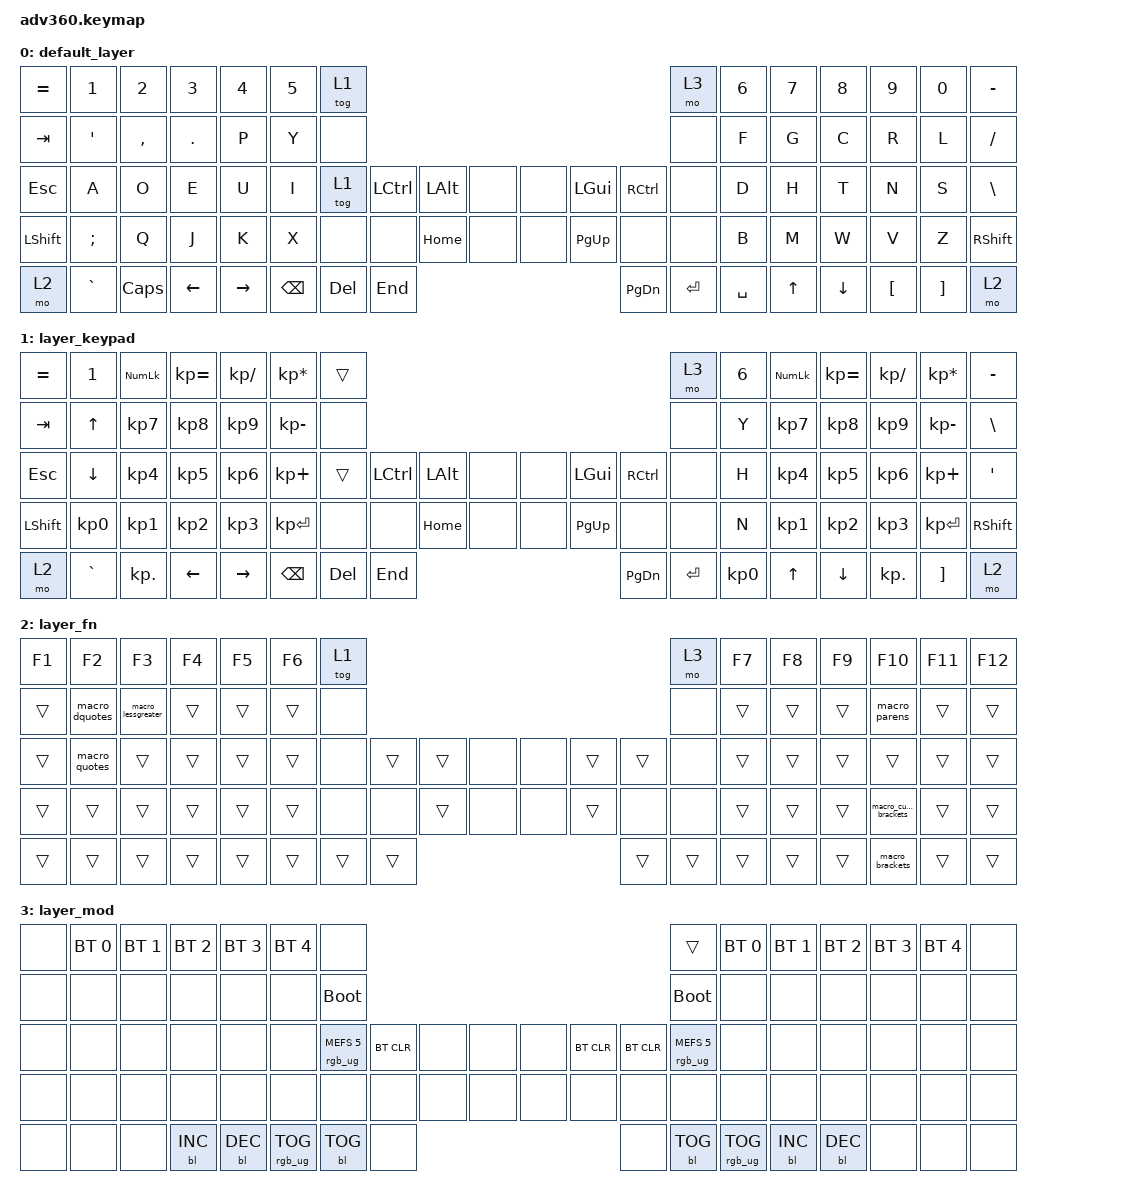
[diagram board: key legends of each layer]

/*
 * Copyright (c) 2020 The ZMK Contributors
 *
 * SPDX-License-Identifier: MIT
 */


/* THIS FILE WAS GENERATED!
 *
 * This file was generated automatically. You may or may not want to
 * edit it directly.
 */

#include <behaviors.dtsi>
#include <dt-bindings/zmk/keys.h>
#include <dt-bindings/zmk/bt.h>
#include <dt-bindings/zmk/rgb.h>
#include <dt-bindings/zmk/backlight.h>

#define COMBO(NAME, BINDINGS, KEYPOS) \
  combo_##NAME { \
    timeout-ms = <20>; \
    bindings = <BINDINGS>; \
    key-positions = <KEYPOS>; \
    layers = <0>; \
  };

/ {
  behaviors {
    #include "macros.dtsi"
    #include "version.dtsi"

    hm: homerow_mods {
        compatible = "zmk,behavior-hold-tap";
        label = "HOMEROW_MODS";
        #binding-cells = <2>;
        tapping-term-ms = <200>;
        quick_tap_ms = <175>;
        flavor = "tap-preferred";
        bindings = <&kp>, <&kp>;
    };
  };

  combos {
  compatible = "zmk,combos";
  
  COMBO(lshift, &kp LSHFT, 30 31)
  COMBO(lctrl, &kp LCTRL, 29 30)
  COMBO(lalt, &kp LALT, 31 32)
  COMBO(rshift, &kp RSHFT, 44 45)
  COMBO(rctrl, &kp RCTRL, 43 44)
  COMBO(ralt, &kp RALT, 45 46)
  
  COMBO(lctrlshift, &kp LS(LCTRL), 29 30 31)
  COMBO(lctrlalt, &kp LC(LALT), 29 32)
  COMBO(lshiftalt, &kp LS(LALT), 30 31 32)
  COMBO(rctrlshift, &kp RS(RCTRL), 43 44 45)
  COMBO(rctrlalt, &kp RC(RALT), 43 46)
  COMBO(rshiftalt, &kp RS(RALT), 44 45 46)

  };

    keymap {
        compatible = "zmk,keymap";


        default_layer {
            bindings = <
 &kp EQUAL     &kp N1     &kp N2      &kp N3     &kp N4  &kp N5              &tog 1                                                                 &mo 3  &kp N6  &kp N7    &kp N8    &kp N9    &kp N0  &kp MINUS
   &kp TAB    &kp SQT  &kp COMMA  &kp PERIOD      &kp P   &kp Y               &none                                                                 &none   &kp F   &kp G     &kp C     &kp R     &kp L   &kp FSLH
   &kp ESC      &kp A      &kp O       &kp E      &kp U   &kp I              &tog 1  &kp LCTRL  &kp LALT   &none   &none   &kp LGUI  &kp RCTRL      &none   &kp D   &kp H     &kp T     &kp N     &kp S   &kp BSLH
 &kp LSHFT   &kp SEMI      &kp Q       &kp J      &kp K   &kp X               &none      &none  &kp HOME   &none   &none  &kp PG_UP      &none      &none   &kp B   &kp M     &kp W     &kp V     &kp Z  &kp RSHFT
     &mo 2  &kp GRAVE   &kp CAPS    &kp LEFT  &kp RIGHT                    &kp BSPC    &kp DEL   &kp END                  &kp PG_DN  &kp ENTER  &kp SPACE          &kp UP  &kp DOWN  &kp LBKT  &kp RBKT      &mo 2
            >;
        };

        layer_keypad {
            bindings = <
 &kp EQUAL     &kp N1  &kp KP_NUM  &kp KP_EQUAL  &kp KP_SLASH  &kp KP_MULTIPLY              &trans                                                                 &mo 3  &kp N6  &kp KP_NUM  &kp KP_EQUAL  &kp KP_DIVIDE  &kp KP_MULTIPLY  &kp MINUS
   &kp TAB     &kp UP   &kp KP_N7     &kp KP_N8     &kp KP_N9     &kp KP_MINUS               &none                                                                 &none   &kp Y   &kp KP_N7     &kp KP_N8      &kp KP_N9     &kp KP_MINUS   &kp BSLH
   &kp ESC   &kp DOWN   &kp KP_N4     &kp KP_N5     &kp KP_N6      &kp KP_PLUS              &trans  &kp LCTRL  &kp LALT   &none   &none   &kp LGUI  &kp RCTRL      &none   &kp H   &kp KP_N4     &kp KP_N5      &kp KP_N6      &kp KP_PLUS    &kp SQT
 &kp LSHFT  &kp KP_N0   &kp KP_N1     &kp KP_N2     &kp KP_N3     &kp KP_ENTER               &none      &none  &kp HOME   &none   &none  &kp PG_UP      &none      &none   &kp N   &kp KP_N1     &kp KP_N2      &kp KP_N3     &kp KP_ENTER  &kp RSHFT
     &mo 2  &kp GRAVE  &kp KP_DOT      &kp LEFT     &kp RIGHT                             &kp BSPC    &kp DEL   &kp END                  &kp PG_DN  &kp ENTER  &kp KP_N0              &kp UP      &kp DOWN     &kp KP_DOT         &kp RBKT      &mo 2
            >;
        };

        layer_fn {
            bindings = <
 &kp F1          &kp F2              &kp F3  &kp F4  &kp F5  &kp F6            &tog 1                                                   &mo 3  &kp F7  &kp F8  &kp F9                &kp F10  &kp F11  &kp F12
 &trans  &macro_dquotes  &macro_lessgreater  &trans  &trans  &trans             &none                                                   &none  &trans  &trans  &trans          &macro_parens   &trans   &trans
 &trans   &macro_quotes              &trans  &trans  &trans  &trans             &none  &trans  &trans   &none   &none  &trans  &trans   &none  &trans  &trans  &trans                 &trans   &trans   &trans
 &trans          &trans              &trans  &trans  &trans  &trans             &none   &none  &trans   &none   &none  &trans   &none   &none  &trans  &trans  &trans  &macro_curly_brackets   &trans   &trans
 &trans          &trans              &trans  &trans  &trans                    &trans  &trans  &trans                  &trans  &trans  &trans          &trans  &trans        &macro_brackets   &trans   &trans
            >;
        };

        layer_mod {
            bindings = <
  &none  &bt BT_SEL 0  &bt BT_SEL 1  &bt BT_SEL 2  &bt BT_SEL 3  &bt BT_SEL 4                             &none                                                                              &trans  &bt BT_SEL 0  &bt BT_SEL 1  &bt BT_SEL 2  &bt BT_SEL 3  &bt BT_SEL 4   &none
  &none         &none         &none         &none         &none         &none                       &bootloader                                                                         &bootloader         &none         &none         &none         &none         &none   &none
  &none         &none         &none         &none         &none         &none            &rgb_ug RGB_MEFS_CMD 5  &bt BT_CLR   &none   &none   &none  &bt BT_CLR  &bt BT_CLR  &rgb_ug RGB_MEFS_CMD 5         &none         &none         &none         &none         &none   &none
  &none         &none         &none         &none         &none         &none                             &none       &none   &none   &none   &none       &none       &none                   &none         &none         &none         &none         &none         &none   &none
  &none         &none         &none    &bl BL_INC    &bl BL_DEC                                 &rgb_ug RGB_TOG  &bl BL_TOG   &none                       &none  &bl BL_TOG         &rgb_ug RGB_TOG                  &bl BL_INC    &bl BL_DEC         &none         &none   &none
            >;
        };

    };
};
